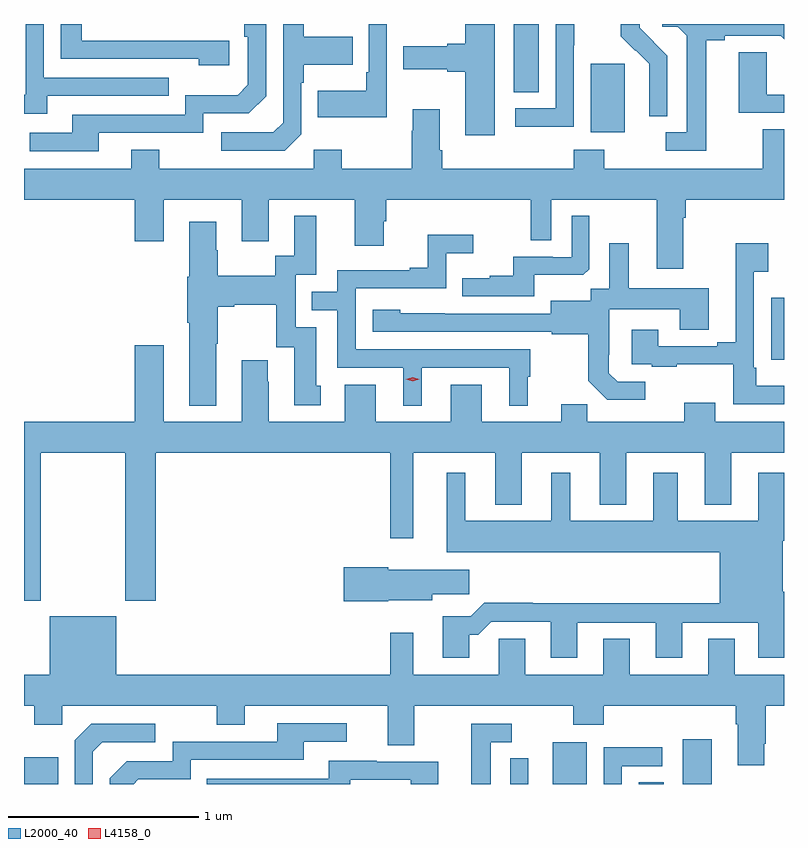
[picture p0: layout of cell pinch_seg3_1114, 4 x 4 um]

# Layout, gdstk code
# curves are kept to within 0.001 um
import gdstk
lib = gdstk.Library(unit=1e-6, precision=1e-09)
def R(c, l, rs):  # rectangles x0, y0, x1, y1
    for r in rs: c.add(gdstk.rectangle(r[:2], r[2:], *l))
def P(c, l, *ps):  # polygons
    for p in ps: c.add(gdstk.Polygon(p, *l))
L2000_40 = (2000, 40)
L4158_0 = (4158, 0)

pinch_seg3_1114 = lib.new_cell('pinch_seg3_1114')
R(pinch_seg3_1114, L2000_40, [(166.114,739.133,166.295,739.273), (168.672,739.133,168.768,739.268), (168.896,739.133,169.075,739.354), (169.349,739.133,169.48,739.142), (169.58,739.133,169.735,739.369), (170.046,741.365,170.114,741.691), (169.097,742.562,169.276,742.923), (168.692,742.774,168.823,743.133)])
P(pinch_seg3_1114, L2000_40, [(168.592,743.133),(168.437,743.133),(168.437,743.03),(168.341,743.03),(168.341,743.017),(168.111,743.017),(168.111,742.895),(168.341,742.895),(168.341,742.883),(168.437,742.883),(168.437,742.548),(168.592,742.548)],
  [(167.194,743.046),(166.417,743.046),(166.417,743.133),(166.308,743.133),(166.308,742.95),(167.033,742.95),(167.033,742.916),(167.194,742.916)],
  [(168.024,743.133),(167.928,743.133),(167.928,742.879),(167.916,742.879),(167.916,742.783),(167.659,742.783),(167.659,742.643),(168.024,742.643)],
  [(167.574,742.554),(167.574,742.823),(167.587,742.823),(167.587,742.919),(167.843,742.919),(167.843,743.067),(167.587,743.067),(167.587,743.133),(167.478,743.133),(167.478,742.614),(167.427,742.563),(167.151,742.563),(167.151,742.467),(167.487,742.467)],
  [(166.237,742.755),(166.877,742.755),(166.877,742.851),(166.218,742.851),(166.218,743.133),(166.122,743.133),(166.122,742.761),(166.114,742.761),(166.114,742.661),(166.237,742.661)],
  [(169.5,742.966),(169.354,743.114),(169.354,743.133),(169.255,743.133),(169.255,743.069),(169.332,742.992),(169.335,742.995),(169.406,742.925),(169.406,742.802),(169.404,742.802),(169.404,742.648),(169.5,742.648)],
  [(169.008,743.02),(169.011,743.02),(169.011,743.133),(168.912,743.133),(168.912,742.689),(168.699,742.689),(168.699,742.591),(169.008,742.591)],
  [(166.507,742.56),(167.058,742.56),(167.058,742.662),(167.298,742.662),(167.388,742.752),(167.388,743.133),(167.272,743.133),(167.272,743.066),(167.292,743.066),(167.292,742.812),(167.239,742.759),(166.962,742.759),(166.962,742.656),(166.367,742.656),(166.367,742.56),(166.143,742.56),(166.143,742.464),(166.507,742.464)],
  [(169.705,743.048),(169.801,743.048),(169.801,743.07),(170.096,743.07),(170.114,743.052),(170.114,743.133),(169.473,743.133),(169.473,743.118),(169.554,743.118),(169.601,743.071),(169.601,742.563),(169.491,742.563),(169.491,742.467),(169.705,742.467)],
  [(170.114,742.761),(170.022,742.761),(170.022,742.985),(169.877,742.985),(169.877,742.665),(170.114,742.665)],
  [(169.585,742.112),(169.598,742.112),(169.598,742.208),(170.114,742.208),(170.114,742.58),(170.003,742.58),(170.003,742.372),(169.167,742.372),(169.167,742.471),(169.007,742.471),(169.007,742.372),(168.314,742.372),(168.314,742.468),(168.301,742.468),(168.301,742.684),(168.161,742.684),(168.161,742.571),(168.154,742.571),(168.154,742.372),(167.787,742.372),(167.787,742.471),(167.64,742.471),(167.64,742.372),(166.827,742.372),(166.827,742.471),(166.679,742.471),(166.679,742.372),(166.114,742.372),(166.114,742.208),(166.697,742.208),(166.697,741.99),(166.849,741.99),(166.849,742.208),(167.261,742.208),(167.261,741.99),(167.401,741.99),(167.401,742.208),(167.855,742.208),(167.855,741.966),(168.007,741.966),(168.007,742.095),(168.02,742.095),(168.02,742.208),(168.78,742.208),(168.78,741.994),(168.888,741.994),(168.888,742.208),(169.445,742.208),(169.445,741.846),(169.585,741.846)],
  [(168.799,741.812),(169.057,741.812),(169.089,741.843),(169.089,742.123),(168.996,742.123),(168.996,741.906),(168.896,741.906),(168.896,741.909),(168.689,741.909),(168.689,741.808),(168.565,741.808),(168.565,741.796),(168.421,741.796),(168.421,741.699),(168.799,741.699)],
  [(167.125,741.451),(167.133,741.451),(167.133,741.644),(167.221,741.644),(167.221,741.656),(167.441,741.656),(167.441,741.432),(167.537,741.432),(167.537,741.126),(167.677,741.126),(167.677,741.228),(167.653,741.228),(167.653,741.537),(167.544,741.537),(167.544,741.813),(167.653,741.813),(167.653,742.123),(167.537,742.123),(167.537,741.914),(167.436,741.914),(167.436,741.808),(167.133,741.808),(167.133,741.942),(167.125,741.942),(167.125,742.093),(166.985,742.093),(166.985,741.804),(166.973,741.804),(166.973,741.56),(166.985,741.56),(166.985,741.125),(167.125,741.125)],
  [(168.208,741.324),(168.668,741.324),(168.668,741.125),(168.766,741.125),(168.766,741.276),(168.778,741.276),(168.778,741.42),(167.859,741.42),(167.859,741.741),(168.336,741.741),(168.336,741.926),(168.478,741.926),(168.478,742.025),(168.238,742.025),(168.238,741.85),(168.143,741.85),(168.143,741.837),(167.763,741.837),(167.763,741.723),(167.629,741.723),(167.629,741.627),(167.763,741.627),(167.763,741.324),(168.11,741.324),(168.11,741.125),(168.208,741.125)],
  [(169.384,741.249),(169.239,741.249),(169.192,741.296),(169.192,741.391),(169.194,741.391),(169.194,741.632),(169.565,741.632),(169.565,741.523),(169.717,741.523),(169.717,741.742),(169.297,741.742),(169.297,741.979),(169.193,741.979),(169.193,741.74),(169.098,741.74),(169.098,741.676),(168.887,741.676),(168.887,741.609),(168.093,741.61),(168.093,741.628),(167.949,741.628),(167.949,741.513),(168.891,741.513),(168.891,741.501),(169.083,741.501),(169.083,741.255),(169.183,741.155),(169.384,741.155)],
  [(170.114,741.229),(169.969,741.229),(169.969,741.325),(169.956,741.325),(169.956,741.83),(170.032,741.83),(170.032,741.979),(169.859,741.979),(169.859,741.457),(169.763,741.457),(169.763,741.438),(169.453,741.438),(169.453,741.523),(169.313,741.523),(169.313,741.342),(169.417,741.342),(169.417,741.33),(169.549,741.33),(169.549,741.341),(169.848,741.341),(169.848,741.132),(170.114,741.132)],
  [(166.203,740.876),(166.648,740.876),(166.648,740.097),(166.808,740.097),(166.808,740.876),(168.042,740.876),(168.042,740.427),(168.163,740.427),(168.163,740.876),(168.593,740.876),(168.593,740.603),(168.733,740.603),(168.733,740.876),(169.145,740.876),(169.145,740.603),(169.285,740.603),(169.285,740.876),(169.697,740.876),(169.697,740.603),(169.837,740.603),(169.837,740.876),(170.114,740.876),(170.114,741.04),(169.753,741.04),(169.753,741.139),(169.589,741.139),(169.589,741.04),(169.079,741.04),(169.079,741.131),(168.941,741.131),(168.941,741.04),(168.523,741.04),(168.523,741.235),(168.359,741.235),(168.359,741.04),(167.965,741.04),(167.965,741.235),(167.801,741.235),(167.801,741.04),(167.401,741.04),(167.401,741.251),(167.398,741.251),(167.398,741.364),(167.261,741.364),(167.261,741.04),(166.849,741.04),(166.849,741.442),(166.697,741.442),(166.697,741.04),(166.114,741.04),(166.114,740.097),(166.203,740.097)],
  [(168.457,739.919),(168.506,739.919),(168.573,739.986),(168.887,739.986),(168.887,739.797),(169.027,739.797),(169.027,739.983),(169.439,739.983),(169.439,739.797),(169.579,739.797),(169.579,739.983),(169.979,739.983),(169.979,739.797),(170.114,739.797),(170.114,740.144),(170.107,740.144),(170.107,740.414),(170.114,740.414),(170.114,740.77),(169.979,740.77),(169.979,740.518),(169.555,740.518),(169.555,740.77),(169.427,740.77),(169.427,740.518),(168.988,740.518),(168.988,740.77),(168.89,740.77),(168.89,740.518),(168.436,740.518),(168.436,740.77),(168.338,740.77),(168.338,740.354),(169.775,740.354),(169.775,740.084),(168.791,740.084),(168.791,740.087),(168.536,740.087),(168.466,740.017),(168.317,740.017),(168.317,739.797),(168.457,739.797)],
  [(168.03,740.099),(168.262,740.099),(168.262,740.131),(168.457,740.131),(168.457,740.26),(168.03,740.26),(168.03,740.273),(167.796,740.273),(167.796,740.095),(168.03,740.095)],
  [(166.25,739.708),(166.114,739.708),(166.114,739.544),(166.168,739.544),(166.168,739.445),(166.314,739.445),(166.314,739.544),(167.128,739.544),(167.128,739.445),(167.275,739.445),(167.275,739.544),(168.029,739.544),(168.029,739.336),(168.169,739.336),(168.169,739.544),(169.006,739.544),(169.006,739.445),(169.166,739.445),(169.166,739.544),(169.859,739.544),(169.859,739.448),(169.871,739.448),(169.871,739.233),(170.011,739.233),(170.011,739.345),(170.019,739.345),(170.019,739.544),(170.114,739.544),(170.114,739.708),(169.855,739.708),(169.855,739.898),(169.715,739.898),(169.715,739.708),(169.303,739.708),(169.303,739.898),(169.163,739.898),(169.163,739.708),(168.751,739.708),(168.751,739.898),(168.612,739.898),(168.612,739.708),(168.163,739.708),(168.163,739.93),(168.042,739.93),(168.042,739.708),(166.6,739.708),(166.6,740.017),(166.25,740.017)],
  [(166.715,739.157),(166.992,739.157),(166.992,739.26),(167.587,739.26),(167.587,739.356),(167.812,739.356),(167.812,739.452),(167.447,739.452),(167.447,739.356),(166.896,739.356),(166.896,739.254),(166.656,739.254),(166.566,739.164),(166.566,739.133),(166.691,739.133)],
  [(168.571,739.353),(168.682,739.353),(168.682,739.449),(168.467,739.449),(168.467,739.133),(168.571,739.133)],
  [(166.476,739.302),(166.527,739.353),(166.804,739.353),(166.804,739.449),(166.467,739.449),(166.38,739.362),(166.38,739.133),(166.476,739.133)],
  [(169.26,739.227),(169.474,739.227),(169.474,739.326),(169.164,739.326),(169.164,739.133),(169.26,739.133)],
  [(167.832,739.155),(168.15,739.155),(168.15,739.133),(168.295,739.133),(168.295,739.251),(167.971,739.251),(167.971,739.255),(167.717,739.255),(167.717,739.161),(167.077,739.161),(167.077,739.133),(167.832,739.133)])
P(pinch_seg3_1114, L4158_0, [(168.159,741.254),(168.123,741.263),(168.123,741.264),(168.123,741.264),(168.159,741.274),(168.195,741.264),(168.195,741.264),(168.195,741.263)])

lib.write_gds('pinch_seg3_1114.gds')
